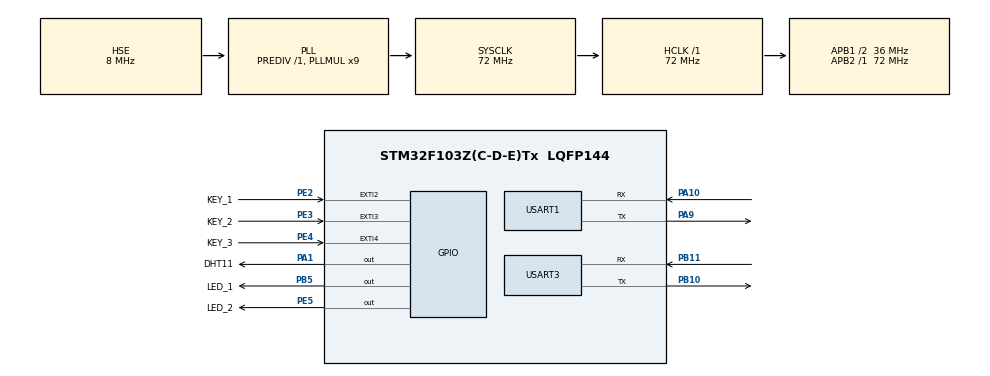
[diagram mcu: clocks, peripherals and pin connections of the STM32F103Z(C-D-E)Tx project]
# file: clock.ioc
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Mcu.Family=STM32F1
Mcu.Name=STM32F103Z(C-D-E)Tx
Mcu.Package=LQFP144
NVIC.EXTI2_IRQn=true\:5\:0\:true\:false\:true\:true\:true\:true
NVIC.EXTI3_IRQn=true\:5\:0\:true\:false\:true\:true\:true\:true
NVIC.EXTI4_IRQn=true\:5\:0\:true\:false\:true\:true\:true\:true
NVIC.PriorityGroup=NVIC_PRIORITYGROUP_4
NVIC.USART3_IRQn=true\:3\:0\:true\:false\:true\:true\:true\:true
OSC_IN.Mode=HSE-External-Oscillator
OSC_IN.Signal=RCC_OSC_IN
OSC_OUT.Mode=HSE-External-Oscillator
OSC_OUT.Signal=RCC_OSC_OUT
PA1.GPIO_Label=DHT11
PA1.GPIO_ModeDefaultOutputPP=GPIO_MODE_OUTPUT_PP
PA1.GPIO_PuPd=GPIO_PULLDOWN
PA1.GPIO_Speed=GPIO_SPEED_FREQ_HIGH
PA1.Signal=GPIO_Output
PA10.Mode=Asynchronous
PA10.Signal=USART1_RX
PA9.Mode=Asynchronous
PA9.Signal=USART1_TX
PB10.Mode=Asynchronous
PB10.Signal=USART3_TX
PB11.Mode=Asynchronous
PB11.Signal=USART3_RX
PB5.GPIO_Label=LED_1
PB5.GPIO_ModeDefaultOutputPP=GPIO_MODE_OUTPUT_PP
PB5.GPIO_PuPd=GPIO_PULLUP
PB5.GPIO_Speed=GPIO_SPEED_FREQ_MEDIUM
PB5.PinState=GPIO_PIN_SET
PB5.Signal=GPIO_Output
PE2.GPIO_Label=KEY_1
PE2.GPIO_ModeDefaultEXTI=GPIO_MODE_IT_FALLING
PE2.GPIO_PuPd=GPIO_PULLUP
PE2.Signal=GPXTI2
PE3.GPIO_Label=KEY_2
PE3.GPIO_ModeDefaultEXTI=GPIO_MODE_IT_FALLING
PE3.GPIO_PuPd=GPIO_PULLUP
PE3.Signal=GPXTI3
PE4.GPIO_Label=KEY_3
PE4.GPIO_ModeDefaultEXTI=GPIO_MODE_IT_FALLING
PE4.GPIO_PuPd=GPIO_PULLUP
PE4.Signal=GPXTI4
PE5.GPIO_Label=LED_2
PE5.GPIO_ModeDefaultOutputPP=GPIO_MODE_OUTPUT_PP
PE5.GPIO_PuPd=GPIO_PULLUP
PE5.GPIO_Speed=GPIO_SPEED_FREQ_MEDIUM
PE5.PinState=GPIO_PIN_SET
PE5.Signal=GPIO_Output
ProjectManager.HeapSize=0x200
ProjectManager.StackSize=0x400
ProjectManager.TargetToolchain=MDK-ARM V5.27
RCC.AHBFreq_Value=72000000
RCC.APB1CLKDivider=RCC_HCLK_DIV2
RCC.APB1Freq_Value=36000000
RCC.APB1TimFreq_Value=72000000
RCC.APB2Freq_Value=72000000
RCC.APB2TimFreq_Value=72000000
RCC.HCLKFreq_Value=72000000
RCC.PLLMUL=RCC_PLL_MUL9
RCC.PLLSourceVirtual=RCC_PLLSOURCE_HSE
RCC.SYSCLKFreq_VALUE=72000000
RCC.SYSCLKSource=RCC_SYSCLKSOURCE_PLLCLK
RCC.USBFreq_Value=72000000
TIM1.Prescaler=71
USART1.VirtualMode=VM_ASYNC
USART3.VirtualMode=VM_ASYNC
VP_SYS_VS_ND.Mode=No_Debug
VP_TIM1_VS_ClockSourceINT.Mode=Internal
board=custom

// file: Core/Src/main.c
/* USER CODE BEGIN Header */
/**
  ******************************************************************************
  * @file           : main.c
  * @brief          : Main program body
  ******************************************************************************
  * @attention
  *
  * Copyright (c) 2025 STMicroelectronics.
  * All rights reserved.
  *
  * This software is licensed under terms that can be found in the LICENSE file
  * in the root directory of this software component.
  * If no LICENSE file comes with this software, it is provided AS-IS.
  *
  ******************************************************************************
  */
/* USER CODE END Header */
#include "main.h"
#include "tim.h"
#include "usart.h"
#include "gpio.h"

/* USER CODE BEGIN Includes */
#include "dht11.h"
#include "esp8266.h"
#include "onenet.h"
#include "mqttkit.h"
/* USER CODE END Includes */

/* USER CODE BEGIN PD */
#define WIFI_NAME "yixi"
#define WIFI_PASSWD "99999999"
/* USER CODE END PD */

void SystemClock_Config(void);

int main(void)
{

  /* USER CODE BEGIN 1 */
	unsigned short timeCount = 0;	//发送间隔变量
	unsigned char *dataPtr = NULL;
  /* USER CODE END 1 */

  /* MCU Configuration--------------------------------------------------------*/

  /* Reset of all peripherals, Initializes the Flash interface and the Systick. */
  HAL_Init();

  /* Configure the system clock */
  SystemClock_Config();

  /* Initialize all configured peripherals */
  MX_GPIO_Init();
  MX_USART1_UART_Init();
  MX_TIM1_Init();
  MX_USART3_UART_Init();
  /* USER CODE BEGIN 2 */
  TIM1_Delay_Init();
  /* USER CODE END 2 */
//   //开启USART3接收中断
  HAL_UART_Receive_IT(&huart3,esp8266_buf,1);

  /* Infinite loop */
	dht11_init();
	ESP8266_Init();
	while(OneNet_DevLink())			//接入OneNET
	HAL_Delay(500);
  while (1)
  {
		timeCount++;
		if(timeCount % 5 == 0)
		{
			dht11_read_data(&temperature, &humidity);
			printf("%d\r\n,%d\r\n",temperature,humidity);
		}
		if(timeCount >= 50)									//发送间隔
		{
//		data_len=MqttOnenet_Savedata(send_jason,temperature, humidity);
			OneNet_SendData();									//发送数据

			timeCount = 0;
			ESP8266_Clear();
		}
			  dataPtr = ESP8266_GetIPD(0);
			  if(dataPtr != NULL)
				OneNet_RevPro(dataPtr);
  }
}

void SystemClock_Config(void)
{
  RCC_OscInitTypeDef RCC_OscInitStruct = {0};
  RCC_ClkInitTypeDef RCC_ClkInitStruct = {0};

  /** Initializes the RCC Oscillators according to the specified parameters
  * in the RCC_OscInitTypeDef structure.
  */
  RCC_OscInitStruct.OscillatorType = RCC_OSCILLATORTYPE_HSE;
  RCC_OscInitStruct.HSEState = RCC_HSE_ON;
  RCC_OscInitStruct.HSEPredivValue = RCC_HSE_PREDIV_DIV1;
  RCC_OscInitStruct.HSIState = RCC_HSI_ON;
  RCC_OscInitStruct.PLL.PLLState = RCC_PLL_ON;
  RCC_OscInitStruct.PLL.PLLSource = RCC_PLLSOURCE_HSE;
  RCC_OscInitStruct.PLL.PLLMUL = RCC_PLL_MUL9;
  if (HAL_RCC_OscConfig(&RCC_OscInitStruct) != HAL_OK)
  {
    Error_Handler();
  }

  /** Initializes the CPU, AHB and APB buses clocks
  */
  RCC_ClkInitStruct.ClockType = RCC_CLOCKTYPE_HCLK|RCC_CLOCKTYPE_SYSCLK
                              |RCC_CLOCKTYPE_PCLK1|RCC_CLOCKTYPE_PCLK2;
  RCC_ClkInitStruct.SYSCLKSource = RCC_SYSCLKSOURCE_PLLCLK;
  RCC_ClkInitStruct.AHBCLKDivider = RCC_SYSCLK_DIV1;
  RCC_ClkInitStruct.APB1CLKDivider = RCC_HCLK_DIV2;
  RCC_ClkInitStruct.APB2CLKDivider = RCC_HCLK_DIV1;

  if (HAL_RCC_ClockConfig(&RCC_ClkInitStruct, FLASH_LATENCY_2) != HAL_OK)
  {
    Error_Handler();
  }
}

/* USER CODE BEGIN 4 */
//KEY1按下动作执行函数
void KEY1_Pressed(void)
{

}

void KEY2_Pressed(void)
{
	HAL_GPIO_WritePin(LED_1_GPIO_Port,LED_1_Pin,GPIO_PIN_SET);
  HAL_GPIO_WritePin(LED_2_GPIO_Port,LED_2_Pin,GPIO_PIN_RESET);
}

//按键回调
void HAL_GPIO_EXTI_Callback(uint16_t GPIO_Pin)
{
    switch(GPIO_Pin)
    {
        case KEY_1_Pin:KEY1_Pressed();break;
        case KEY_2_Pin:KEY2_Pressed();break;
        default:break;
    }
}

//USART3 ES8266驱动串口接收中断处理函数
void HAL_UART_RxCpltCallback(UART_HandleTypeDef *huart)
{
    if (huart->Instance == USART3)
    {
        // 处理接收到的数据
        if (esp8266_cnt >= 128) esp8266_cnt = 0; // 防止缓冲区溢出
        esp8266_buf[esp8266_cnt++] = huart->Instance->DR; // 读取接收到的数据

        // 再次启动接收中断，准备接收下一个字节
        HAL_UART_Receive_IT(&huart3, &esp8266_buf[esp8266_cnt], 1);
    }
}

/* USER CODE END 4 */

void Error_Handler(void)
{
  __disable_irq();
  while (1)
  {
  }
}
